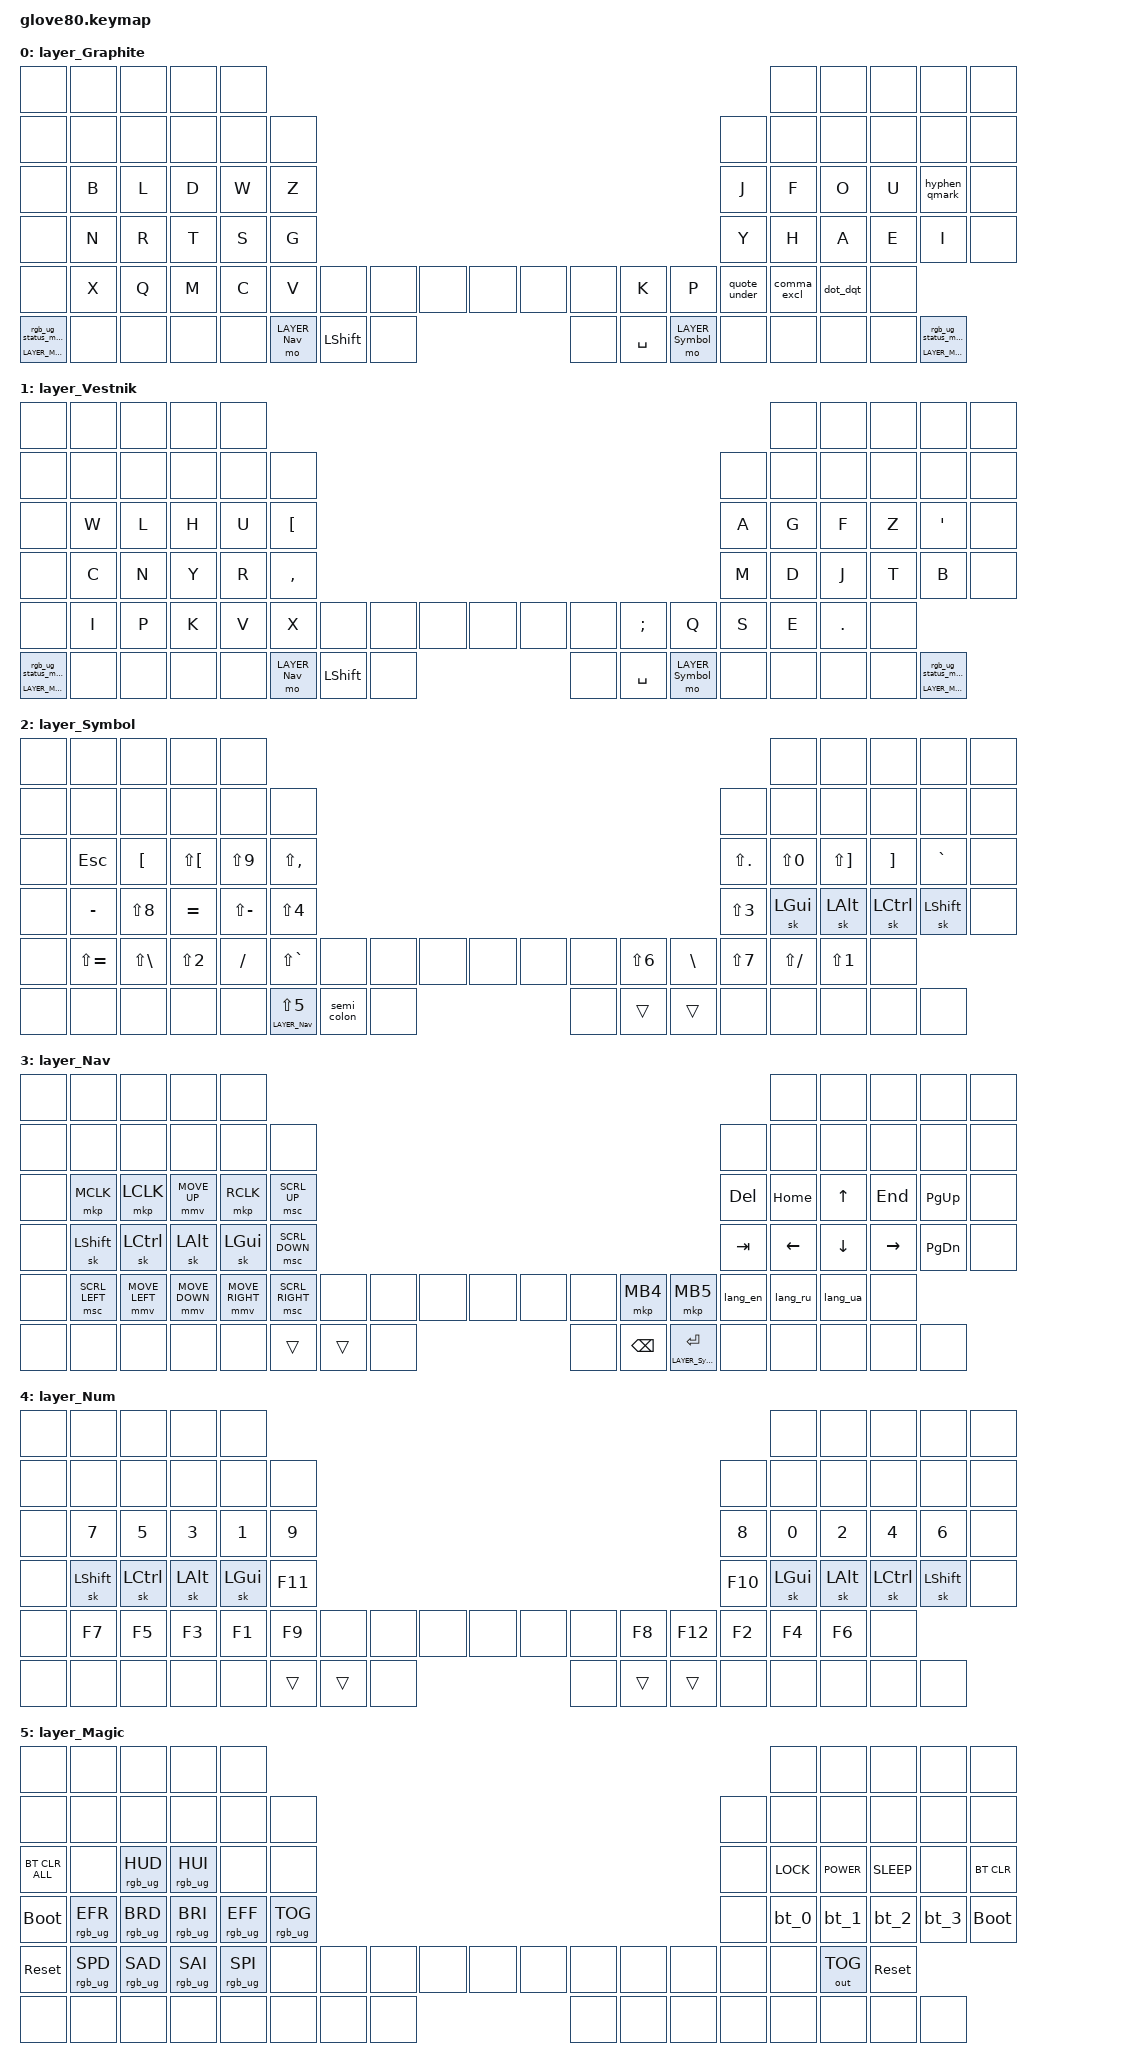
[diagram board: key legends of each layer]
/*
 * SPDX-License-Identifier: MIT
 *
 * 34-key Graphite layout for Glove80
 * Callum-style: no mod-tap, hold combos for mods, tri-layer NUM (SYM+NAV)
 */

#include <behaviors.dtsi>
#include <dt-bindings/zmk/outputs.h>
#include <dt-bindings/zmk/keys.h>
#include <dt-bindings/zmk/bt.h>
#include <dt-bindings/zmk/rgb.h>

// Layers — Vestnik must be below Nav/Symbol/Num so those layers can override it
#define LAYER_Graphite 0
#define LAYER_Vestnik 1
#define LAYER_Symbol 2
#define LAYER_Nav 3
#define LAYER_Num 4
#define LAYER_Magic 5

// OS-specific shortcuts
#ifndef OPERATING_SYSTEM
#define OPERATING_SYSTEM 1 // 1=linux, 2=macos, 3=windows
#endif

#if OPERATING_SYSTEM == 2
    #define _C      LG
    #define _POWER  K_POWER
    #define _HOME   _C(LEFT)
    #define _END    _C(RIGHT)
    #define _LOCK   _C(LC(Q))
#elif OPERATING_SYSTEM == 1
    #define _C      LC
    #define _POWER  C_POWER
    #define _HOME   HOME
    #define _END    END
    #define _LOCK   K_LOCK
#elif OPERATING_SYSTEM == 3
    #define _C      LC
    #define _POWER  C_POWER
    #define _HOME   HOME
    #define _END    END
    #define _LOCK   LG(L)
#endif

#define _SLEEP C_SLEEP

// Symbol overrides for en-US keyboard
#ifndef KEYMAP_DRAWER
#undef  AMPS
#define AMPS  LS(N7)
#undef  AT
#define AT    LS(N2)
#undef  CARET
#define CARET LS(N6)
#undef  COLON
#define COLON LS(SEMI)
#undef  DLLR
#define DLLR  LS(N4)
#undef  DQT
#define DQT   LS(SQT)
#undef  EXCL
#define EXCL  LS(N1)
#undef  GT
#define GT    LS(DOT)
#undef  HASH
#define HASH  LS(N3)
#undef  LBRC
#define LBRC  LS(LBKT)
#undef  LPAR
#define LPAR  LS(N9)
#undef  LT
#define LT    LS(COMMA)
#undef  PIPE
#define PIPE  LS(BSLH)
#undef  PLUS
#define PLUS  LS(EQUAL)
#undef  PRCNT
#define PRCNT LS(N5)
#undef  QMARK
#define QMARK LS(FSLH)
#undef  RBRC
#define RBRC  LS(RBKT)
#undef  RPAR
#define RPAR  LS(N0)
#undef  STAR
#define STAR  LS(N8)
#undef  TILDE
#define TILDE LS(GRAVE)
#undef  UNDER
#define UNDER LS(MINUS)
#endif

#define ALPHA_LAYERS LAYER_Graphite LAYER_Vestnik
#define COMBO_TIMEOUT_MS 75

// Mouse
#define ZMK_MOUSE_DEFAULT_MOVE_VAL 2400
#define ZMK_MOUSE_DEFAULT_SCRL_VAL 20
#include <dt-bindings/zmk/mouse.h>

&mmv {
    delay-ms = <0>;
    acceleration-exponent = <1>;
    time-to-max-speed-ms = <300>;
};

&msc {
    delay-ms = <0>;
    acceleration-exponent = <0>;
    time-to-max-speed-ms = <200>;
};

/ {
    macros {
        rgb_ug_status_macro: rgb_ug_status_macro {
            label = "RGB_UG_STATUS";
            compatible = "zmk,behavior-macro";
            #binding-cells = <0>;
            bindings = <&rgb_ug RGB_STATUS>;
        };

        lang_en: lang_en {
            compatible = "zmk,behavior-macro";
            #binding-cells = <0>;
            bindings = <&to LAYER_Graphite>, <&kp LC(LS(LG(N1)))>;
        };

        lang_ru: lang_ru {
            compatible = "zmk,behavior-macro";
            #binding-cells = <0>;
            bindings = <&to LAYER_Vestnik>, <&kp LC(LS(LG(N2)))>;
        };

        lang_ua: lang_ua {
            compatible = "zmk,behavior-macro";
            #binding-cells = <0>;
            bindings = <&to LAYER_Vestnik>, <&kp LC(LS(LG(N3)))>;
        };

        bt_0: bt_0 {
            compatible = "zmk,behavior-macro";
            #binding-cells = <0>;
            bindings = <&out OUT_BLE>, <&bt BT_SEL 0>;
        };

        bt_1: bt_1 {
            compatible = "zmk,behavior-macro";
            #binding-cells = <0>;
            bindings = <&out OUT_BLE>, <&bt BT_SEL 1>;
        };

        bt_2: bt_2 {
            compatible = "zmk,behavior-macro";
            #binding-cells = <0>;
            bindings = <&out OUT_BLE>, <&bt BT_SEL 2>;
        };

        bt_3: bt_3 {
            compatible = "zmk,behavior-macro";
            #binding-cells = <0>;
            bindings = <&out OUT_BLE>, <&bt BT_SEL 3>;
        };
    };

    behaviors {
        magic: magic {
            compatible = "zmk,behavior-hold-tap";
            label = "MAGIC_HOLD_TAP";
            #binding-cells = <2>;
            flavor = "tap-preferred";
            tapping-term-ms = <200>;
            bindings = <&mo>, <&rgb_ug_status_macro>;
        };

        w_caps: capsword_and_capslock {
            compatible = "zmk,behavior-mod-morph";
            label = "CAPSWORD_AND_CAPSLOCK";
            #binding-cells = <0>;
            bindings = <&caps_word>, <&kp CAPS>;
            mods = <(MOD_LSFT|MOD_RSFT)>;
        };

        quote_under: quote_and_underscore {
            compatible = "zmk,behavior-mod-morph";
            label = "QUOTE_AND_UNDERSCORE";
            #binding-cells = <0>;
            bindings = <&kp SQT>, <&kp UNDER>;
            mods = <(MOD_LSFT|MOD_RSFT)>;
        };

        hyphen_qmark: hyphen_and_question {
            compatible = "zmk,behavior-mod-morph";
            label = "HYPHEN_AND_QUESTION";
            #binding-cells = <0>;
            bindings = <&kp MINUS>, <&kp QMARK>;
            mods = <(MOD_LSFT|MOD_RSFT)>;
        };

        comma_excl: comma_and_excl {
            compatible = "zmk,behavior-mod-morph";
            label = "COMMA_AND_EXCL";
            #binding-cells = <0>;
            bindings = <&kp COMMA>, <&kp EXCL>;
            mods = <(MOD_LSFT|MOD_RSFT)>;
        };

        dot_dqt: dot_and_dqt {
            compatible = "zmk,behavior-mod-morph";
            label = "DOT_AND_DQT";
            #binding-cells = <0>;
            bindings = <&kp DOT>, <&kp DQT>;
            mods = <(MOD_LSFT|MOD_RSFT)>;
        };

        semi_colon: semi_and_colon {
            compatible = "zmk,behavior-mod-morph";
            label = "SEMI_AND_COLON";
            #binding-cells = <0>;
            bindings = <&kp SEMI>, <&kp COLON>;
            mods = <(MOD_LSFT|MOD_RSFT)>;
        };

        behavior_caps_word {
            continue-list = <
                UNDERSCORE MINUS
                BACKSPACE DELETE
                N1 N2 N3 N4 N5 N6 N7 N8 N9 N0
            >;
        };
    };

/*  ╭─────────────────╮ ╭─────────────────╮
 *  │ 23 24 25 26 27  │ │  28 29 30 31 32 │
 *  │ 35 36 37 38 39  │ │  40 41 42 43 44 │
 *  │ 47 48 49 50 51  │ │  58 59 60 61 62 │
 *  ╰────────╮ 69 70  │ │  73 74 ╭────────╯
 *           ╰────────╯ ╰────────╯
 *
 *  ╭─────────────────╮ ╭─────────────────╮
 *  │  B  L  D  W  Z  │ │  J  F  O  U  -? │
 *  │  N  R  T  S  G  │ │  Y  H  A  E  I  │
 *  │  X  Q  M  C  V  │ │  K  P  '_ ,! ." │
 *  ╰────────╮NAV SFT │ │SPC SYM╭─────────╯
 *           ╰────────╯ ╰───────╯          */

    combos {
        compatible = "zmk,combos";

        // Left hand
        combo_caps {
            bindings = <&w_caps>;
            key-positions = <39 40>; // S+Y
            layers = <ALPHA_LAYERS>;
            timeout-ms = <COMBO_TIMEOUT_MS>;
        };

        combo_tab {
            bindings = <&kp TAB>;
            key-positions = <50 51>; // C+V
            layers = <ALPHA_LAYERS>;
            timeout-ms = <COMBO_TIMEOUT_MS>;
        };

        combo_ctrl {
            bindings = <&kp LCTRL>;
            key-positions = <35 36>; // N+R
            layers = <ALPHA_LAYERS>;
            timeout-ms = <COMBO_TIMEOUT_MS>;
        };

        combo_gui {
            bindings = <&kp LGUI>;
            key-positions = <38 39>; // S+G
            layers = <ALPHA_LAYERS>;
            timeout-ms = <COMBO_TIMEOUT_MS>;
        };

        combo_alt {
            bindings = <&kp LALT>;
            key-positions = <47 48>; // X+Q
            layers = <ALPHA_LAYERS>;
            timeout-ms = <COMBO_TIMEOUT_MS>;
        };

        combo_f13 {
            bindings = <&kp F13>;
            key-positions = <48 49>; // Q+M
            layers = <ALPHA_LAYERS>;
            timeout-ms = <COMBO_TIMEOUT_MS>;
        };

        // Right hand
        combo_ret {
            bindings = <&kp RET>;
            key-positions = <58 59>; // K+P
            layers = <ALPHA_LAYERS>;
            timeout-ms = <COMBO_TIMEOUT_MS>;
        };

        combo_esc {
            bindings = <&kp ESC>;
            key-positions = <59 60>; // P+'
            layers = <ALPHA_LAYERS>;
            timeout-ms = <COMBO_TIMEOUT_MS>;
        };

        combo_bspc {
            bindings = <&kp BSPC>;
            key-positions = <60 61>; // '+,
            layers = <ALPHA_LAYERS>;
            timeout-ms = <COMBO_TIMEOUT_MS>;
        };

        combo_r_ctrl {
            bindings = <&kp LCTRL>;
            key-positions = <43 44>; // E+I
            layers = <ALPHA_LAYERS>;
            timeout-ms = <COMBO_TIMEOUT_MS>;
        };

        combo_r_gui {
            bindings = <&kp LGUI>;
            key-positions = <40 41>; // Y+H
            layers = <ALPHA_LAYERS>;
            timeout-ms = <COMBO_TIMEOUT_MS>;
        };

        combo_r_alt {
            bindings = <&kp LALT>;
            key-positions = <61 62>; // ,+.
            layers = <ALPHA_LAYERS>;
            timeout-ms = <COMBO_TIMEOUT_MS>;
        };

        // Cyrillic extras (Vestnik only): Ъ/Ї, Ё/Ґ, Щ
        combo_shcha {
            bindings = <&kp O>;
            key-positions = <31 32>; // Я+Э
            layers = <LAYER_Vestnik>;
            timeout-ms = <COMBO_TIMEOUT_MS>;
        };

        combo_yo {
            bindings = <&kp GRAVE>;
            key-positions = <32 44>; // Э+И
            layers = <LAYER_Vestnik>;
            timeout-ms = <COMBO_TIMEOUT_MS>;
        };

        combo_hard_sign {
            bindings = <&kp RBKT>;
            key-positions = <44 62>; // И+Ю
            layers = <LAYER_Vestnik>;
            timeout-ms = <COMBO_TIMEOUT_MS>;
        };
    };

    conditional_layers {
        compatible = "zmk,conditional-layers";
        tri_layer { if-layers = <LAYER_Symbol LAYER_Nav>; then-layer = <LAYER_Num>; };
    };

    keymap {
        compatible = "zmk,keymap";

        layer_Graphite {
            bindings = <
     &none   &none   &none   &none          &none                                                                                     &none   &none          &none        &none          &none
     &none   &none   &none   &none          &none   &none                                                                     &none   &none   &none          &none        &none          &none
     &none   &kp B   &kp L   &kp D          &kp W   &kp Z                                                                     &kp J   &kp F   &kp O          &kp U  &hyphen_qmark      &none
     &none   &kp N   &kp R   &kp T          &kp S   &kp G                                                                     &kp Y   &kp H   &kp A          &kp E        &kp I      &none
     &none   &kp X   &kp Q   &kp M          &kp C   &kp V   &none   &none   &none   &none       &none   &none   &kp K   &kp P  &quote_under  &comma_excl     &dot_dqt      &none
     &magic LAYER_Magic 0   &none   &none   &none   &none    &mo LAYER_Nav  &kp LSHFT   &none   &none  &kp SPC  &mo LAYER_Symbol   &none   &none          &none        &none  &magic LAYER_Magic 0
            >;
        };

/*  Herald-Vestnik Cyrillic (via ЙЦУКЕН keycodes)
 *  ╭─────────────────╮ ╭─────────────────╮
 *  │  Ц  Д  Р  Г  Х  │ │  Ф  П  А  Я  Э │
 *  │  С  Т  Н  К  Б  │ │  Ь  В  О  Е  И │
 *  │  Ш  З  Л  М  Ч  │ │  Ж  Й  Ы  У  Ю │
 *  ╰────────╮NAV SFT │ │SPC SYM╭─────────╯
 *           ╰────────╯ ╰───────╯          */
        layer_Vestnik {
            bindings = <
     &none     &none     &none     &none      &none                                                                                      &none     &none     &none     &none      &none
     &none     &none     &none     &none      &none     &none                                                                    &none   &none     &none     &none     &none      &none
     &none     &kp W     &kp L     &kp H      &kp U  &kp LBKT                                                                   &kp A   &kp G     &kp F     &kp Z   &kp SQT      &none
     &none     &kp C     &kp N     &kp Y      &kp R &kp COMMA                                                                   &kp M   &kp D     &kp J     &kp T     &kp B      &none
     &none     &kp I     &kp P     &kp K      &kp V     &kp X   &none   &none   &none   &none       &none   &none  &kp SEMI   &kp Q     &kp S     &kp E   &kp DOT      &none
     &magic LAYER_Magic 0   &none   &none   &none   &none    &mo LAYER_Nav  &kp LSHFT   &none   &none  &kp SPC  &mo LAYER_Symbol   &none     &none     &none     &none  &magic LAYER_Magic 0
            >;
        };

        layer_Symbol {
            bindings = <
     &none      &none      &none      &none      &none                                                                                   &none      &none      &none      &none      &none
     &none      &none      &none      &none      &none      &none                                                              &none      &none      &none      &none      &none      &none
     &none   &kp ESC  &kp LBKT  &kp LBRC  &kp LPAR     &kp LT                                                               &kp GT  &kp RPAR  &kp RBRC  &kp RBKT  &kp GRAVE      &none
     &none &kp MINUS  &kp STAR &kp EQUAL &kp UNDER   &kp DLLR                                                             &kp HASH  &sk LGUI  &sk LALT &sk LCTRL &sk LSHFT      &none
     &none  &kp PLUS  &kp PIPE    &kp AT  &kp FSLH  &kp TILDE   &none   &none   &none   &none   &none   &none  &kp CARET  &kp BSLH  &kp AMPS  &kp QMARK   &kp EXCL      &none
     &none      &none      &none     &none     &none        &lt LAYER_Nav PRCNT  &semi_colon   &none   &none   &trans   &trans              &none      &none      &none      &none      &none
            >;
        };

        layer_Nav {
            bindings = <
     &none          &none          &none           &none           &none                                                                                         &none      &none      &none       &none       &none
     &none          &none          &none           &none           &none          &none                                                                  &none    &none      &none      &none       &none       &none
     &none      &mkp MCLK      &mkp LCLK    &mmv MOVE_UP      &mkp RCLK  &msc SCRL_UP                                                                &kp DEL  &kp _HOME     &kp UP   &kp _END    &kp PG_UP       &none
     &none      &sk LSHFT      &sk LCTRL       &sk LALT        &sk LGUI  &msc SCRL_DOWN                                                              &kp TAB  &kp LEFT   &kp DOWN  &kp RIGHT    &kp PG_DN       &none
     &none  &msc SCRL_LEFT  &mmv MOVE_LEFT  &mmv MOVE_DOWN  &mmv MOVE_RIGHT  &msc SCRL_RIGHT   &none   &none   &none   &none   &none   &none  &mkp MB4  &mkp MB5   &lang_en   &lang_ru    &lang_ua       &none
     &none          &none          &none           &none           &none               &trans   &trans   &none   &none  &kp BSPC   &lt LAYER_Symbol RET                &none      &none      &none       &none       &none
            >;
        };

        layer_Num {
            bindings = <
     &none       &none       &none       &none       &none                                                                                     &none      &none      &none       &none       &none
     &none       &none       &none       &none       &none       &none                                                                &none    &none      &none      &none       &none       &none
     &none     &kp N7     &kp N5     &kp N3     &kp N1     &kp N9                                                                &kp N8    &kp N0     &kp N2     &kp N4      &kp N6       &none
     &none   &sk LSHFT  &sk LCTRL    &sk LALT       &sk LGUI  &kp F11                                                        &kp F10   &sk LGUI  &sk LALT   &sk LCTRL   &sk LSHFT     &none
     &none    &kp F7     &kp F5     &kp F3     &kp F1     &kp F9   &none   &none   &none   &none   &none   &none    &kp F8   &kp F12    &kp F2     &kp F4      &kp F6       &none
     &none       &none       &none      &none      &none           &trans   &trans   &none   &none   &trans   &trans             &none      &none      &none       &none       &none
            >;
        };

        layer_Magic {
            bindings = <
          &none            &none            &none            &none            &none                                                                                  &none       &none       &none         &none        &none
          &none            &none            &none            &none            &none            &none                                                      &none      &none       &none       &none         &none        &none
 &bt BT_CLR_ALL            &none  &rgb_ug RGB_HUD  &rgb_ug RGB_HUI            &none            &none                                                      &none  &kp _LOCK  &kp _POWER  &kp _SLEEP         &none   &bt BT_CLR
    &bootloader  &rgb_ug RGB_EFR  &rgb_ug RGB_BRD  &rgb_ug RGB_BRI  &rgb_ug RGB_EFF  &rgb_ug RGB_TOG                                                      &none      &bt_0       &bt_1       &bt_2         &bt_3  &bootloader
     &sys_reset  &rgb_ug RGB_SPD  &rgb_ug RGB_SAD  &rgb_ug RGB_SAI  &rgb_ug RGB_SPI            &none   &none   &none   &none   &none   &none   &none      &none      &none       &none       &none  &out OUT_TOG   &sys_reset
          &none            &none            &none            &none            &none                    &none   &none   &none   &none   &none   &none                  &none       &none       &none         &none        &none
            >;
        };

    };
};
